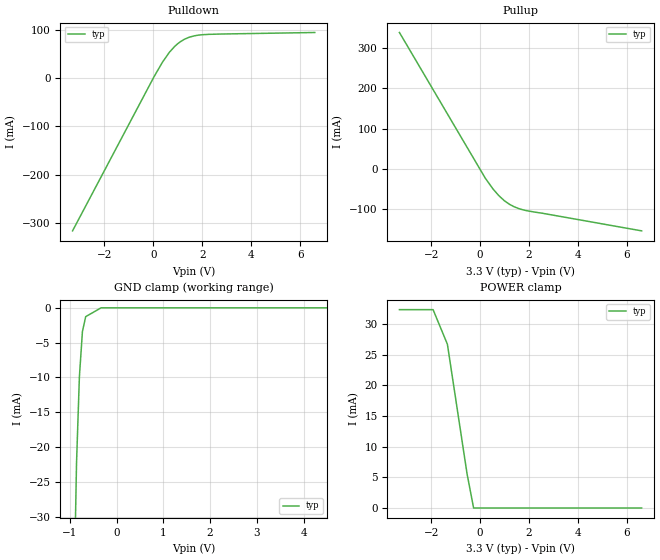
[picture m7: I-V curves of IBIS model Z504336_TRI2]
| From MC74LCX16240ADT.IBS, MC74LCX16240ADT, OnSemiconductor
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| (C) COPYRIGHT 1993-2000
| MENTOR GRAPHICS CORPORATION
| ICX STANDARD LIBRARY, ICX PROJECT MODELING,
| ICX CUSTOM MODELING, ICX VENDOR MODEL
| ALL RIGHTS RESERVED.
| THE FOLLOWING ARE TRADEMARKS OR SERVICE MARKS OF
| MENTOR GRAPHICS CORPORATION:ICX (R), ICX STANDARD
| LIBRARY(R), ICX PROJECT MODELING(R), ICX CUSTOM
| MODELING(R), qualityIBIS(TM), MODELVIEWER(TM),
| AND MODELEDITOR(TM)
| ALL COPIES OF SOFTWARE, INCLUDING BUT NOT LIMITED TO
| ANY MODIFICATIONS, ENHANCEMENTS OR DERIVATIVE WORKS,
| MUST CONTAIN ALL MENTOR GRAPHICS CORPORATION'S
| NOTICES AND LEGENDS, INCLUDING THOSE EMBEDDED IN
| SOFTWARE AND THOSE AFFIXED TO SOFTWARE MEDIUM
| AND CONTAINER, AS RECEIVED FROM MENTOR GRAPHICS
| CORPORATION.
| Model Application Version 1.89 2/18/99.
[Model] Z504336_TRI2
Model_type 3-state
Vref=0.000V
Rref=500.0ohms
Cref=50.00pF
Vmeas=1.500V
C_comp 8.000pF NA NA
| variable typ   min   max
[Voltage Range] 3.300V NA NA
[POWER Clamp Reference] 3.300V NA NA
[Pullup Reference] 3.300V NA NA
[Pulldown Reference] 0.000V NA NA
[GND Clamp Reference] 0.000V NA NA
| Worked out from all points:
|   slope of the pulldown table from 0 to 0.495 V, typ, clamps not added: 11.8 ohm
|   slope of the pullup table from 0 to 0.495 V, typ, clamps not added: 10.7 ohm
[GND Clamp]
-3.3V     -1.227A    NA         NA
-1.044V   -89.44mA   NA         NA
-856.1mV  -22.31mA   NA         NA
-794.4mV  -9.855mA   NA         NA
-730mV    -3.418mA   NA         NA
-660.3mV  -1.271mA   NA         NA
-330.2mV  0A         NA         NA
6.6V      0A         NA         NA
[Pulldown]
-3.3V     -317.1mA   NA         NA
24.53mV   2.603mA    NA         NA
372.1mV   33.2mA     NA         NA
664.6mV   54.39mA    NA         NA
987.3mV   71.27mA    NA         NA
1.275V    81.08mA    NA         NA
1.47V     85.29mA    NA         NA
2.064V    90.69mA    NA         NA
6.6V      95.04mA    NA         NA
[Pullup]
-3.3V     339.4mA    NA         NA
211mV     -24.04mA   NA         NA
523mV     -50.64mA   NA         NA
762mV     -67.36mA   NA         NA
989mV     -80.1mA    NA         NA
1.392V    -95.21mA   NA         NA
1.865V    -104.4mA   NA         NA
6.6V      -155.2mA   NA         NA
[POWER Clamp]
-3.3V     32.36mA    NA         NA
-1.925V   32.36mA    NA         NA
-1.339V   26.71mA    NA         NA
-537mV    5.601mA    NA         NA
-268.5mV  0A         NA         NA
6.6V      0A         NA         NA
[Ramp]
| variable typ min max
dV/dt_r 1.956/374.4p NA NA
dV/dt_f 1.956/432.0p NA NA
R_load = 500.0Ohms
